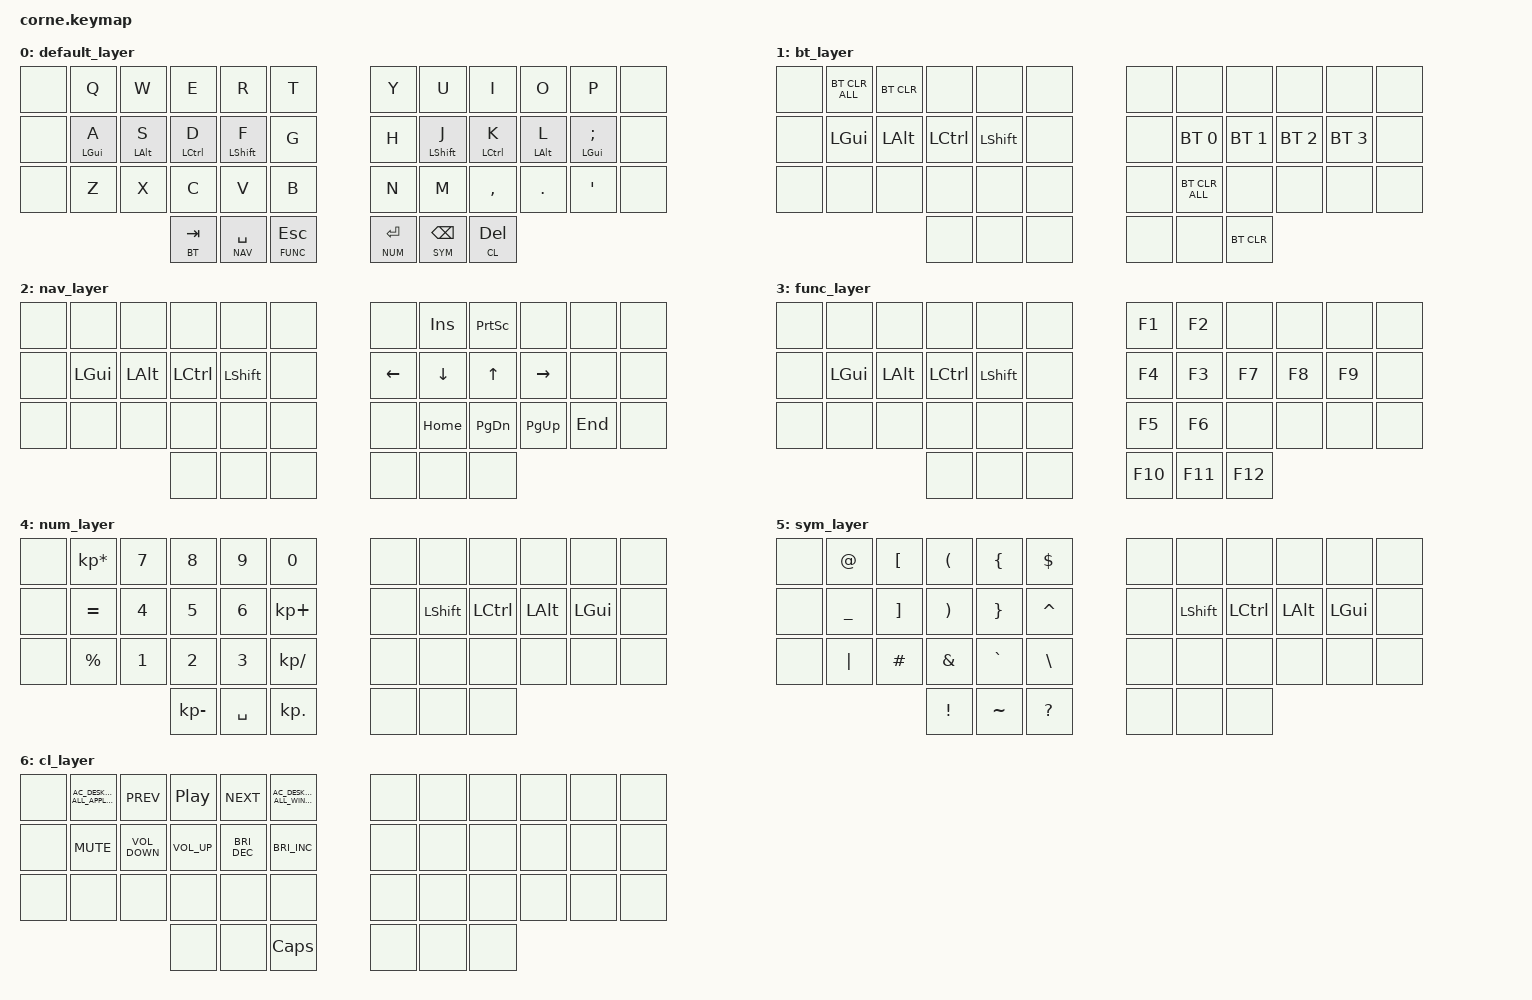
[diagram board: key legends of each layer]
/*
 * Copyright (c) 2020 The ZMK Contributors
 *
 * SPDX-License-Identifier: MIT
 */

#include <behaviors.dtsi>
#include <dt-bindings/zmk/keys.h>
#include <dt-bindings/zmk/bt.h>

// LAYERS
#define DEF 0
#define BT 1
#define NAV 2
#define FUNC 3
#define NUM 4
#define SYM 5
#define CL 6

&lt {
  flavor = "tap-preferred";
  tapping-term-ms = <200>;
  quick-tap-ms = <0>;
};

&mt {
  flavor = "tap-preferred";
  tapping_term_ms = <200>;
  quick-tap-ms = <0>;
 };

/ {

        keymap {
                compatible = "zmk,keymap";

                default_layer {
// -----------------------------------------------------------------------------------------
// default layer
//
                        bindings = <
   &none &kp Q      &kp W      &kp E       &kp R       &kp T          &kp Y &kp U       &kp I       &kp O      &kp P         &none
   &none &mt LGUI A &mt LALT S &mt LCTRL D &mt LSHFT F &kp G          &kp H &mt LSHFT J &mt LCTRL K &mt LALT L &mt LGUI SEMI &none
   &none &kp Z      &kp X      &kp C       &kp V       &kp B          &kp N &kp M       &kp COMMA   &kp DOT    &kp SQT       &none
                          &lt BT TAB &lt NAV SPACE &lt FUNC ESC    &lt NUM RET &lt SYM BSPC &lt CL DEL
                        >;
                };

                bt_layer {
// -----------------------------------------------------------------------------------------
// bt layer
//
                        bindings = <
   &none &bt BT_CLR_ALL    &bt BT_CLR    &none     &none     &none              &none &none        &none        &none        &none        &none
   &none &kp LGUI &kp LALT &kp LCTRL &kp LSHFT &none              &none &bt BT_SEL 0 &bt BT_SEL 1 &bt BT_SEL 2 &bt BT_SEL 3 &none
   &none &none    &none    &none     &none     &none              &none &bt BT_CLR_ALL   &none        &none        &none        &none
                                      &none &none &none        &none &none &bt BT_CLR
                        >;
                };

                nav_layer {
// -----------------------------------------------------------------------------------------
// nav layer
//
                        bindings = <
   &none &none    &none    &none     &none     &none              &none    &kp INS     &kp PSCRN     &none     &none &none
   &none &kp LGUI &kp LALT &kp LCTRL &kp LSHFT &none              &kp LEFT &kp DOWN    &kp UP        &kp RIGHT &none &none
   &none &none    &none    &none     &none     &none              &none    &kp HOME &kp PG_DN &kp PG_UP &kp END   &none
                                      &none &none &none        &none &none &none
                        >;
                };

                func_layer {
// -----------------------------------------------------------------------------------------
// func layer
//
                        bindings = <
   &none &none    &none    &none     &none     &none              &kp F1 &kp F2 &none  &none  &none  &none
   &none &kp LGUI &kp LALT &kp LCTRL &kp LSHFT &none              &kp F4 &kp F3 &kp F7 &kp F8 &kp F9 &none
   &none &none    &none    &none     &none     &none              &kp F5 &kp F6 &none  &none  &none  &none
                                      &none &none &none        &kp F10 &kp F11 &kp F12
                        >;
                };

                num_layer {
// -----------------------------------------------------------------------------------------
// num layer
//
                        bindings = <
   &none &kp KP_MULTIPLY &kp N7          &kp N8       &kp N9      &kp N0                 &none &none     &none     &none    &none    &none
   &none &kp EQUAL    &kp N4          &kp N5       &kp N6      &kp KP_PLUS            &none &kp LSHFT &kp LCTRL &kp LALT &kp LGUI &none
   &none &kp PRCNT       &kp N1          &kp N2       &kp N3      &kp KP_DIVIDE          &none &none     &none     &none    &none    &none
                                           &kp KP_MINUS &kp SPACE &kp KP_DOT             &none &none &none
                        >;
               };

                sym_layer {
// -----------------------------------------------------------------------------------------
// sym layer
//
                        bindings = <
   &none &kp AT    &kp LBKT &kp LPAR      &kp LBRC  &kp DOLLAR             &none &none     &none     &none    &none    &none
   &none &kp UNDER &kp RBKT &kp RPAR      &kp RBRC  &kp CARET              &none &kp LSHFT &kp LCTRL &kp LALT &kp LGUI &none
   &none &kp PIPE  &kp HASH &kp AMPERSAND &kp GRAVE &kp BACKSLASH          &none &none     &none     &none    &none    &none
                              &kp EXCLAMATION &kp TILDE &kp QUESTION     &none &none &none
                        >;
                };

                cl_layer {
// -----------------------------------------------------------------------------------------
// cl layer
//
                        bindings = <
   &none &kp C_AC_DESKTOP_SHOW_ALL_APPLICATIONS        &kp C_PREV        &kp C_PLAY_PAUSE &kp C_NEXT           &kp C_AC_DESKTOP_SHOW_ALL_WINDOWS &none &none &none &none &none &none
   &none &kp C_MUTE                                    &kp C_VOLUME_DOWN &kp C_VOL_UP     &kp C_BRIGHTNESS_DEC &kp C_BRIGHTNESS_INC              &none &none &none &none &none &none
   &none &none                                         &none             &none            &none                &none                             &none &none &none &none &none &none
                                                                                                                &none &none &kp CAPSLOCK       &none &none &none
                        >;
                };

        };
};
